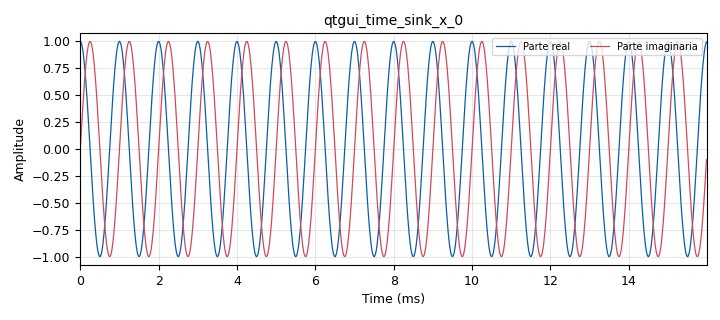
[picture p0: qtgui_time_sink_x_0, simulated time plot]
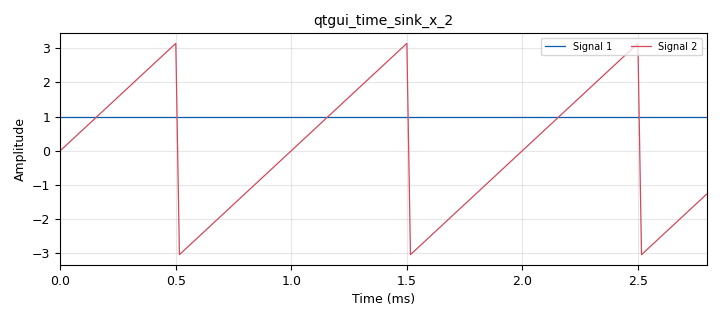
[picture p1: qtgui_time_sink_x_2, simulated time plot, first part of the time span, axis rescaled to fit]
options:
  parameters:
    generate_options: qt_gui
    id: ej5
    output_language: python
    title: Not titled yet
  states: {}

blocks:
- name: samp_rate
  id: variable
  parameters:
    value: '64000'
  states: {}
- name: analog_sig_source_x_0
  id: analog_sig_source_x
  parameters:
    alias: x(t) = e^{j2π1000t}
    amp: '1'
    freq: '1000'
    offset: '0'
    phase: '0'
    samp_rate: samp_rate
    type: complex
    waveform: analog.GR_COS_WAVE
  states: {}
- name: blocks_complex_to_float_0
  id: blocks_complex_to_float
  parameters: {}
  states: {}
- name: blocks_complex_to_magphase_0
  id: blocks_complex_to_magphase
  parameters: {}
  states: {}
- name: blocks_throttle2_0
  id: blocks_throttle2
  parameters:
    samples_per_second: samp_rate
    type: complex
  states: {}
- name: qtgui_time_sink_x_0
  id: qtgui_time_sink_x
  parameters:
    ctrlpanel: 'True'
    label1: Parte real
    label2: Parte imaginaria
    nconnections: '2'
    size: '1024'
    srate: samp_rate
    type: float
  states: {}
- name: qtgui_time_sink_x_2
  id: qtgui_time_sink_x
  parameters:
    nconnections: '2'
    size: '1024'
    srate: samp_rate
    type: float
  states: {}

connections:
- [analog_sig_source_x_0, '0', blocks_throttle2_0, '0']
- [blocks_complex_to_float_0, '0', qtgui_time_sink_x_0, '0']
- [blocks_complex_to_float_0, '1', qtgui_time_sink_x_0, '1']
- [blocks_complex_to_magphase_0, '0', qtgui_time_sink_x_2, '0']
- [blocks_complex_to_magphase_0, '1', qtgui_time_sink_x_2, '1']
- [blocks_throttle2_0, '0', blocks_complex_to_float_0, '0']
- [blocks_throttle2_0, '0', blocks_complex_to_magphase_0, '0']

metadata:
  file_format: 1
  grc_version: 3.10.12.0
